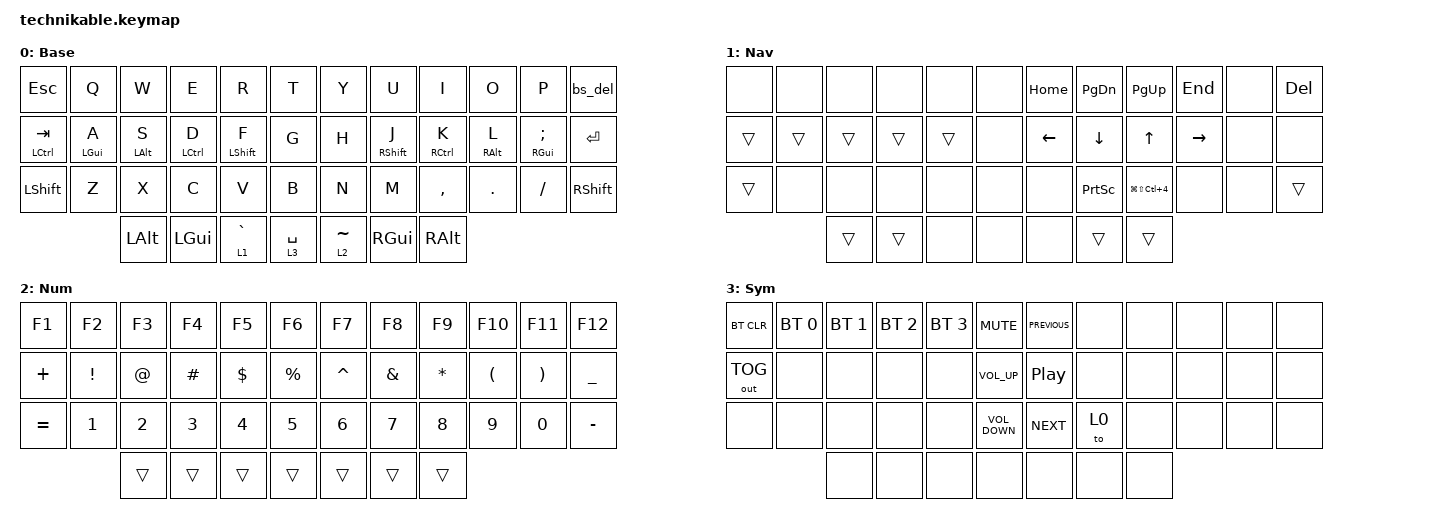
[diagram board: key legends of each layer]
/*
 * Copyright (c) 2022 Pete Johanson
 *
 * SPDX-License-Identifier: MIT
 */

#include <behaviors.dtsi>
#include <dt-bindings/zmk/bt.h>
#include <dt-bindings/zmk/keys.h>
#include <dt-bindings/zmk/outputs.h>

#define BAS_L 0
#define NAV_L 1
#define NUM_L 2
#define SYM_L 3

// Using layer taps on thumbs, having quick tap as well helps w/ repeating space/backspace

&lt {
    tapping-term-ms = <280>;
    quick-tap-ms = <175>;
    require-prior-idle-ms = <130>;
    flavor = "balanced";
};

&mt {
    tapping-term-ms = <280>;
    quick-tap-ms = <175>;
    require-prior-idle-ms = <130>;
    flavor = "balanced";
};

/ {
    chosen { zmk,matrix_transform = &mit_transform; };

    conditional_layers { compatible = "zmk,conditional-layers"; };

    combos {
        compatible = "zmk,combos";

        lbkt {
            bindings = <&kp LEFT_BRACKET>;
            key-positions = <3 4>;
            layers = <0>;
        };

        rbkt {
            bindings = <&kp RIGHT_BRACKET>;
            key-positions = <7 8>;
            layers = <0>;
        };

        quot {
            bindings = <&kp SINGLE_QUOTE>;
            key-positions = <15 16>;
            layers = <0>;
        };

        bsl {
            bindings = <&kp BACKSLASH>;
            key-positions = <19 20>;
            layers = <0>;
        };

        caps {
            bindings = <&kp CAPSLOCK>;
            key-positions = <12 13>;
            layers = <0>;
        };
    };

    behaviors {
        hml: hml {
            compatible = "zmk,behavior-hold-tap";
            label = "Left HomeRow Mods";
            bindings = <&kp>, <&kp>;

            #binding-cells = <2>;
            flavor = "balanced";
            tapping-term-ms = <280>;
            quick-tap-ms = <175>;
            require-prior-idle-ms = <130>;
            hold-trigger-on-release;
            hold-trigger-key-positions = <6 7 8 9 10 11 18 19 20 21 22 23 30 31 32 33 34 35 39 40 41 42 38 37 36>;
        };

        hmr: hmr {
            compatible = "zmk,behavior-hold-tap";
            label = "Right HomeRow Mods";
            bindings = <&kp>, <&kp>;

            #binding-cells = <2>;
            tapping-term-ms = <280>;
            quick-tap-ms = <175>;
            require-prior-idle-ms = <130>;
            flavor = "balanced";
            hold-trigger-key-positions = <0 1 2 3 4 5 12 13 14 15 16 17 24 25 26 27 28 29 36 37 38 39 40 41 42>;
            hold-trigger-on-release;
        };

        bs_del: bs_del {
            compatible = "zmk,behavior-mod-morph";
            label = "Backspace to Delete";
            bindings = <&kp BACKSPACE>, <&kp DELETE>;

            #binding-cells = <0>;
            mods = <(MOD_RSFT|MOD_LSFT)>;
            keep-mods = <(MOD_RSFT)>;
        };
    };

    keymap {
        compatible = "zmk,keymap";

        base_layer {
            label = "Base";
            bindings = <
&kp ESCAPE      &kp Q            &kp W            &kp E         &kp R              &kp T          &kp Y        &kp U               &kp I          &kp O             &kp P                     &bs_del
&mt LCTRL TAB   &hml LEFT_GUI A  &hml LEFT_ALT S  &hml LCTRL D  &hml LEFT_SHIFT F  &kp G          &kp H        &hmr RIGHT_SHIFT J  &hmr RCTRL K   &hmr RIGHT_ALT L  &hmr RIGHT_GUI SEMICOLON  &kp ENTER
&kp LEFT_SHIFT  &kp Z            &kp X            &kp C         &kp V              &kp B          &kp N        &kp M               &kp COMMA      &kp DOT           &kp FSLH                  &kp RIGHT_SHIFT
                                 &kp LALT         &kp LEFT_GUI  &lt 1 GRAVE        &lt 3 SPACE    &lt 2 TILDE  &kp RIGHT_GUI       &kp RIGHT_ALT
            >;
        };

        nav_layer {
            label = "Nav";
            bindings = <
&none   &none   &none   &none   &none   &none    &kp HOME        &kp PG_DN        &kp PAGE_UP               &kp END    &none  &kp DEL
&trans  &trans  &trans  &trans  &trans  &none    &kp LEFT_ARROW  &kp DOWN         &kp UP_ARROW              &kp RIGHT  &none  &none
&trans  &none   &none   &none   &none   &none    &none           &kp PRINTSCREEN  &kp LG(LS(LC(NUMBER_4)))  &none      &none  &trans
                &trans  &trans  &none   &none    &none           &trans           &trans
            >;
        };

        num_layer {
            label = "Num";
            bindings = <
&kp F1     &kp F2        &kp F3        &kp F4        &kp F5        &kp F6          &kp F7        &kp F8        &kp F9        &kp F10               &kp F11                &kp F12
&kp PLUS   &kp EXCL      &kp AT        &kp HASH      &kp DOLLAR    &kp PERCENT     &kp CARET     &kp AMPS      &kp ASTRK     &kp LEFT_PARENTHESIS  &kp RIGHT_PARENTHESIS  &kp UNDER
&kp EQUAL  &kp NUMBER_1  &kp NUMBER_2  &kp NUMBER_3  &kp NUMBER_4  &kp NUMBER_5    &kp NUMBER_6  &kp NUMBER_7  &kp NUMBER_8  &kp NUMBER_9          &kp NUMBER_0           &kp MINUS
                         &trans        &trans        &trans        &trans          &trans        &trans        &trans
            >;
        };

        sym_layer {
            label = "Sym";
            bindings = <
&bt BT_CLR    &bt BT_SEL 0  &bt BT_SEL 1  &bt BT_SEL 2  &bt BT_SEL 3  &kp C_MUTE           &kp C_PREVIOUS    &none  &none  &none  &none  &none
&out OUT_TOG  &none         &none         &none         &none         &kp C_VOLUME_UP      &kp C_PLAY_PAUSE  &none  &none  &none  &none  &none
&none         &none         &none         &none         &none         &kp C_VOLUME_DOWN    &kp C_NEXT        &to 0  &none  &none  &none  &none
                            &none         &none         &none         &none                &none             &none  &none
            >;
        };
    };
};
